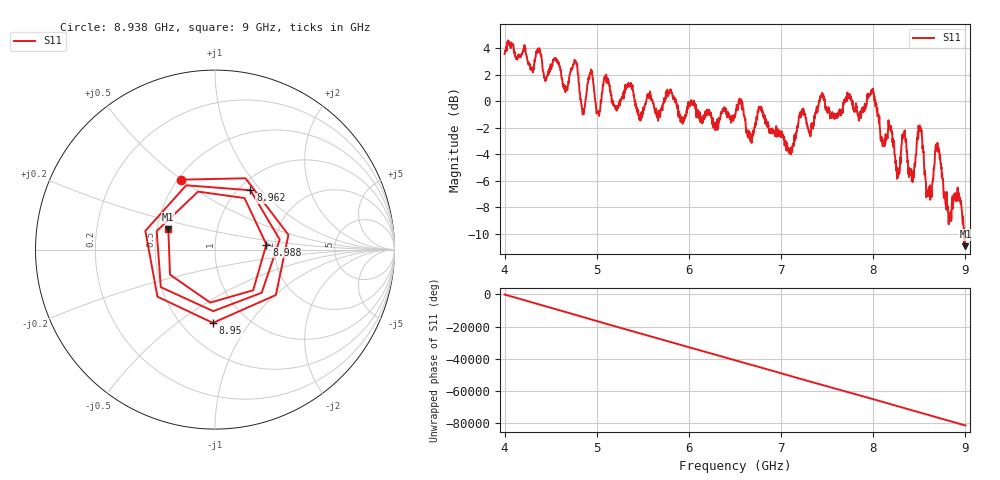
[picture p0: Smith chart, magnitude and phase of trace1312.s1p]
! Created with skrf 1.8.0 (http://scikit-rf.org).
# Hz S RI R 50.0
!freq ReS11 ImS11
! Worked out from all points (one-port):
!   1601 points, 4 GHz to 9 GHz, reference 50 ohm
!   lowest |S11| = -11.0 dB at 9 GHz (marker M1), VSWR 1.79, Z = 28.7 + j7.06 ohm
!   |S11| at or under -10 dB: 8.985291 GHz to end of sweep
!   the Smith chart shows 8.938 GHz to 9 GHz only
!   S11 on the Smith chart (normalised r, x): 8.938 GHz: 0.52, +0.50; 8.95 GHz: 0.70, -0.69; 8.962 GHz: 1.13, +0.88; 8.988 GHz: 1.80, +0.11; 9 GHz: 0.57, +0.14
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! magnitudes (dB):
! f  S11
! 4 GHz  3.6
! 4.625 GHz  1.7
! 4.762 GHz  3.1
! 4.847 GHz  -1.0
! 4.934 GHz  2.3
! 5.012 GHz  -0.9
! 5.1 GHz  1.9
! 5.25 GHz  -0.3
! 5.875 GHz  -0.5
! 6.5 GHz  -1.1
! 7.125 GHz  -3.4
! 7.222 GHz  -0.9
! 7.75 GHz  0.5
! 7.988 GHz  0.7
! 8.188 GHz  -2.0
! 8.262 GHz  -5.4
! 8.331 GHz  -2.6
! 8.375 GHz  -4.5
! 8.438 GHz  -5.8
! 8.506 GHz  -1.9
! 8.6 GHz  -7.1
! 8.694 GHz  -3.2
! 8.825 GHz  -8.9
! 8.938 GHz  -7.3
! 8.95 GHz  -7.8
! 8.962 GHz  -8.3
! 8.988 GHz  -10.8
! 9 GHz  -11.0
